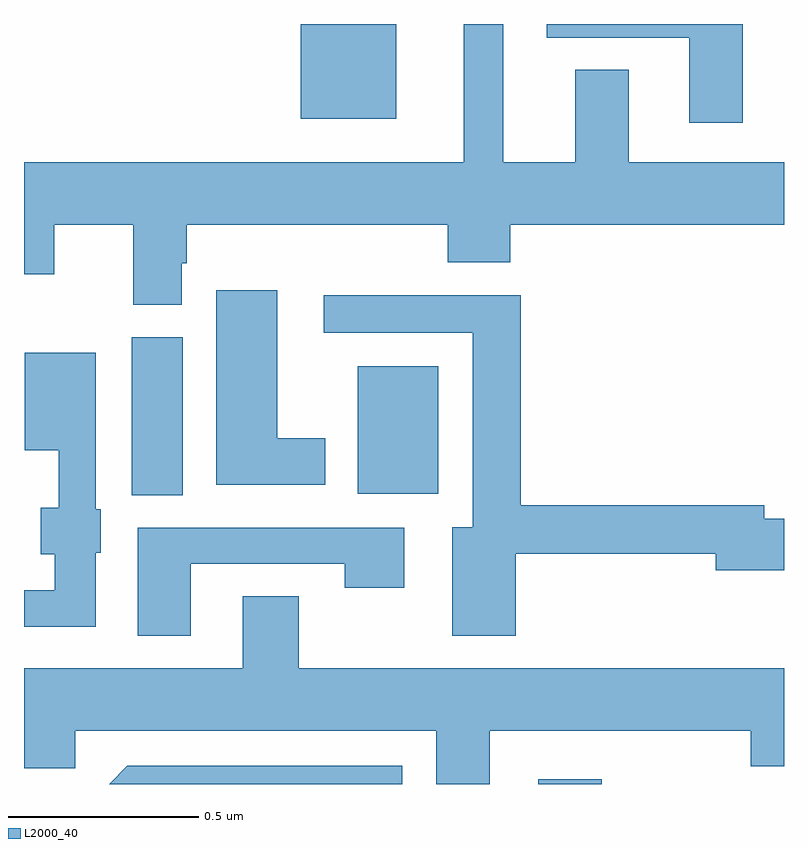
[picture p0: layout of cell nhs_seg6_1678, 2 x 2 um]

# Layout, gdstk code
import gdstk
lib = gdstk.Library(unit=1e-6, precision=1e-09)
def R(c, l, rs):  # rectangles x0, y0, x1, y1
    for r in rs: c.add(gdstk.rectangle(r[:2], r[2:], *l))
def P(c, l, *ps):  # polygons
    for p in ps: c.add(gdstk.Polygon(p, *l))
L2000_40 = (2000, 40)

nhs_seg6_1678 = lib.new_cell('nhs_seg6_1678')
R(nhs_seg6_1678, L2000_40, [(133.353,976.5,133.521,976.513), (132.284,977.26,132.418,977.676), (132.878,977.264,133.09,977.599), (132.728,978.251,132.979,978.5)])
P(nhs_seg6_1678, L2000_40, [(133.891,978.5),(133.376,978.5),(133.376,978.464),(133.751,978.464),(133.751,978.24),(133.891,978.24)],
  [(132.415,977.871),(132.428,977.871),(132.428,977.972),(133.115,977.972),(133.115,977.873),(133.28,977.873),(133.28,977.972),(134,977.972),(134,978.136),(133.591,978.136),(133.591,978.379),(133.451,978.379),(133.451,978.136),(133.261,978.136),(133.261,978.5),(133.157,978.5),(133.157,978.136),(132,978.136),(132,977.841),(132.079,977.841),(132.079,977.972),(132.287,977.972),(132.287,977.761),(132.415,977.761)],
  [(132.793,977.41),(132.667,977.41),(132.667,977.8),(132.506,977.8),(132.506,977.288),(132.793,977.288)],
  [(133.294,977.106),(133.82,977.106),(133.82,977.063),(134,977.063),(134,977.198),(133.948,977.198),(133.948,977.234),(133.307,977.234),(133.307,977.786),(132.789,977.786),(132.789,977.688),(133.181,977.688),(133.181,977.176),(133.127,977.176),(133.127,976.89),(133.294,976.89)],
  [(132.189,977.109),(132.202,977.109),(132.202,977.223),(132.189,977.223),(132.189,977.635),(132.002,977.635),(132.002,977.378),(132.092,977.378),(132.092,977.227),(132.044,977.227),(132.044,977.105),(132.081,977.105),(132.081,977.01),(132,977.01),(132,976.914),(132.189,976.914)],
  [(132.439,977.079),(132.844,977.079),(132.844,977.016),(133,977.016),(133,977.175),(132.299,977.175),(132.299,976.89),(132.439,976.89)],
  [(133.225,976.64),(133.913,976.64),(133.913,976.547),(134,976.547),(134,976.804),(132.723,976.804),(132.723,976.994),(132.575,976.994),(132.575,976.804),(132,976.804),(132,976.542),(132.135,976.542),(132.135,976.64),(133.085,976.64),(133.085,976.5),(133.225,976.5)],
  [(132.996,976.548),(132.272,976.548),(132.224,976.5),(132.996,976.5)])

lib.write_gds('nhs_seg6_1678.gds')
